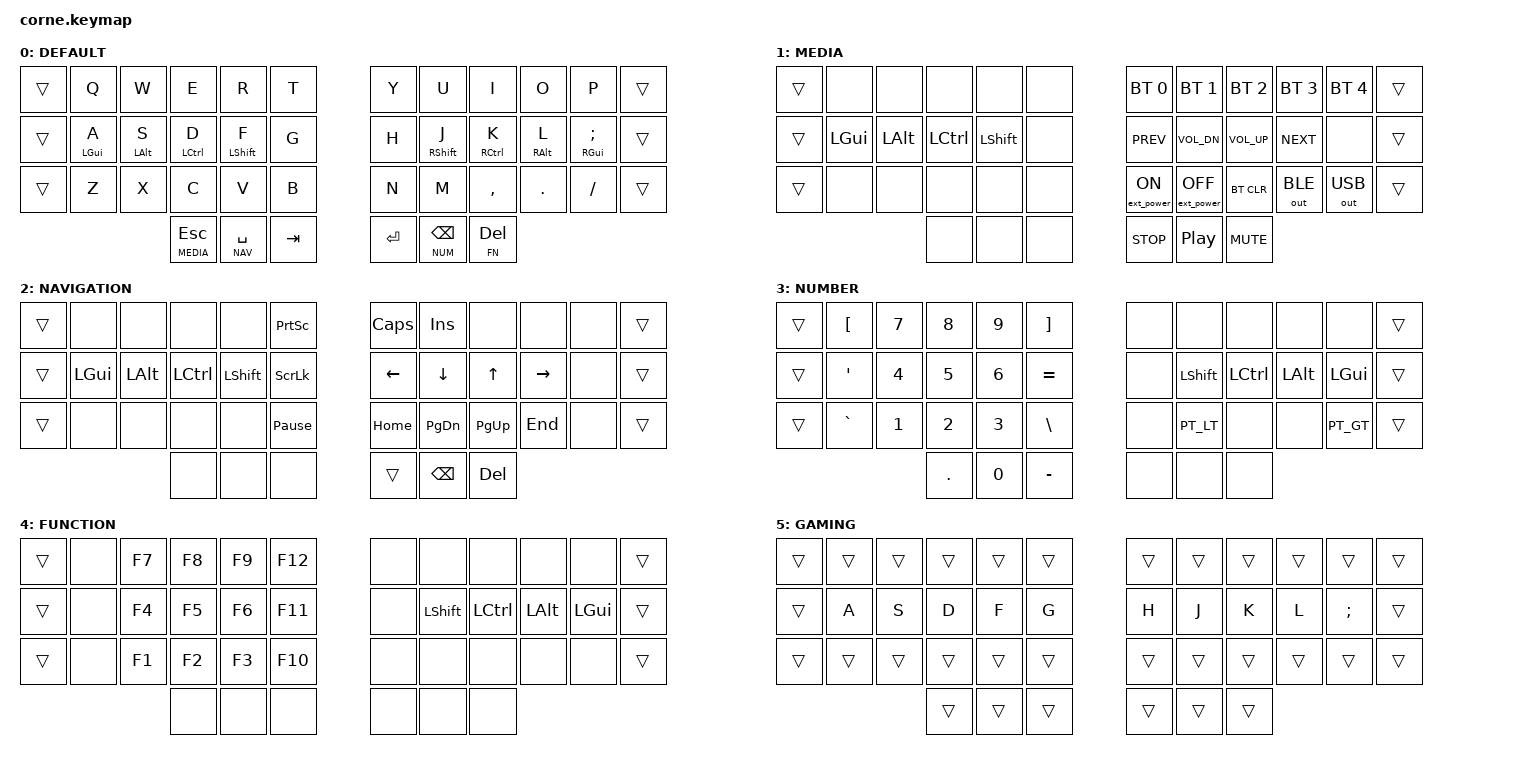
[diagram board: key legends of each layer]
/*
 * Copyright (c) 2020 The ZMK Contributors
 *
 * SPDX-License-Identifier: MIT
 */

#include "keys_pt.h"
#include <behaviors.dtsi>
#include <dt-bindings/zmk/bt.h>
#include <dt-bindings/zmk/ext_power.h>
#include <dt-bindings/zmk/keys.h>
#include <dt-bindings/zmk/outputs.h>

#define DEFAULT 0
#define MEDIA   1
#define NAV     2
#define NUM     3
#define FN      4

// Make layer tap keys repeateable on double tap:

&lt { quick-tap-ms = <200>; };

/*
╭───────────────╮
| (a)       (b) |
|      (c)      |
| (d)  (e)  (f) |
|      (g)      |
| (h)       (i) |
╰───────────────╯
(a) Num + key
(b) Shft + Num + key
(c) Fn + key
(d) Nav + key
(e) Default + key
(f) AltGr + Num + key
(g) Hold
(h) Media + key
(i) Unused (maybe future Macro layer)
*/
/* *************************
** NOTE ABOUT EXTERNAL POWER
**
** `ext_power EP_OFF` will have VISIBLE effects immediately but
** `ext_power EP_ON` WILL NOT.
** See https://github.com/zmkfirmware/zmk/issues/674#issuecomment-1030611235
** for details but, in summary, `CONFIG_ZMK_SETTINGS_SAVE_DEBOUNCE` must pass
** to allow the ON setting to be written to the flash memory and then we must
** turn the board off and on again.
** In my case (Nice!Nano v2 with OLEDs) I must enter bootloader mode by
** clicking the reset button twice and then resetting by clicking the reset
** button once.
** That will restart the main half with the OLED turned ON.
** Then reset the satellite half and it too will restart with the OLED ON.
*/

/ {
    behaviors {
        hm: homerow_mods {
            compatible = "zmk,behavior-hold-tap";
            label = "HOMEROW_MODS";
            #binding-cells = <2>;
            flavor = "balanced";
            tapping-term-ms = <200>;
            quick-tap-ms = <200>;
            require-prior-idle-ms = <100>;
            global-quick-tap;
            bindings = <&kp>, <&kp>;
        };
    };

    combos {
        compatible = "zmk,combos";

        combo_toggle_gaming {
          bindings = <&tog 5>;
          key-positions = <38 39>;
        };
        /* toBase { */
        /*     bindings = <&to 0>; */
        /*     key-positions = <38 39>; */
        /*     layers = <5>; */
        /* }; */
        /**/
        /* toGaming { */
        /*     bindings = <&to 5>; */
        /*     key-positions = <38 39>; */
        /*     layers = <0>; */
        /* }; */
    };

    keymap{
        compatible = "zmk,keymap";

        default_layer {
            display-name = "DEFAULT";
            bindings = <
&trans  &kp Q       &kp W       &kp E          &kp R          &kp T            &kp Y             &kp U              &kp I         &kp O         &kp P          &trans
&trans  &hm LGUI A  &hm LALT S  &hm LCTRL D    &hm LSHFT F    &kp G            &kp H             &hm RSHFT J        &hm RCTRL K   &hm RALT L    &hm RGUI SEMI  &trans
&trans  &kp Z       &kp X       &kp C          &kp V          &kp B            &kp N             &kp M              &kp COMMA     &kp DOT       &kp FSLH       &trans
                                &lt MEDIA ESC  &lt NAV SPACE  &kp TAB          &kp RET           &lt NUM BSPC       &lt FN DEL
            >;
        };

        media_layer {
            display-name = "MEDIA";
            bindings = <
&trans  &none       &none       &none          &none          &none            &bt BT_SEL 0      &bt BT_SEL 1       &bt BT_SEL 2  &bt BT_SEL 3  &bt BT_SEL 4   &trans
&trans  &kp LGUI    &kp LALT    &kp LCTRL      &kp LSHFT      &none            &kp C_PREV        &kp C_VOL_DN       &kp C_VOL_UP  &kp C_NEXT    &none          &trans
&trans  &none       &none       &none          &none          &none            &ext_power EP_ON  &ext_power EP_OFF  &bt BT_CLR    &out OUT_BLE  &out OUT_USB   &trans
                                &none          &none          &none            &kp C_STOP        &kp C_PP           &kp C_MUTE
            >;
        };

        nav_layer {
            display-name = "NAVIGATION";
            bindings = <
&trans  &none       &none       &none          &none          &kp PSCRN        &kp CAPSLOCK      &kp INSERT         &none         &none         &none          &trans
&trans  &kp LGUI    &kp LALT    &kp LCTRL      &kp LSHIFT     &kp SLCK         &kp LEFT          &kp DOWN           &kp UP        &kp RIGHT     &none          &trans
&trans  &none       &none       &none          &none          &kp PAUSE_BREAK  &kp HOME          &kp PG_DN          &kp PG_UP     &kp END       &none          &trans
                                &none          &none          &none            &trans            &kp BSPC           &kp DEL
            >;
        };

        num_layer {
            display-name = "NUMBER";
            bindings = <
&trans  &kp LBKT    &kp N7      &kp N8         &kp N9         &kp RBKT         &none             &none              &none         &none         &none          &trans
&trans  &kp SQT     &kp N4      &kp N5         &kp N6         &kp EQUAL        &none             &kp LSHIFT         &kp LCTRL     &kp LALT      &kp LGUI       &trans
&trans  &kp GRAVE   &kp N1      &kp N2         &kp N3         &kp BSLH         &none             &kp PT_LT          &none         &none         &kp PT_GT      &trans
                                &kp DOT        &kp N0         &kp MINUS        &none             &none              &none
            >;
        };

        fn_layer {
            display-name = "FUNCTION";
            bindings = <
&trans  &none       &kp F7      &kp F8         &kp F9         &kp F12          &none             &none              &none         &none         &none          &trans
&trans  &none       &kp F4      &kp F5         &kp F6         &kp F11          &none             &kp LSHIFT         &kp LCTRL     &kp LALT      &kp LGUI       &trans
&trans  &none       &kp F1      &kp F2         &kp F3         &kp F10          &none             &none              &none         &none         &none          &trans
                                &none          &none          &none            &none             &none              &none
            >;
        };

        gaming {
            display-name = "GAMING";
            bindings = <
&trans  &trans      &trans      &trans         &trans         &trans           &trans            &trans             &trans        &trans        &trans         &trans
&trans  &kp A       &kp S       &kp D          &kp F          &kp G            &kp H             &kp J              &kp K         &kp L         &kp SEMI       &trans
&trans  &trans      &trans      &trans         &trans         &trans           &trans            &trans             &trans        &trans        &trans         &trans
                                &trans         &trans         &trans           &trans            &trans             &trans
            >;
        };
    };
};
